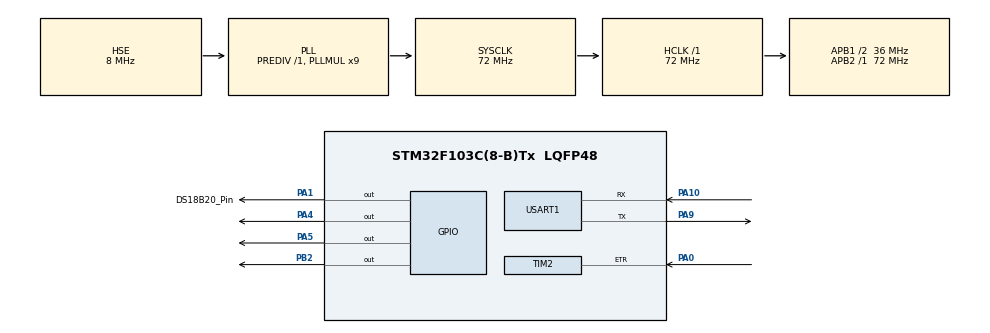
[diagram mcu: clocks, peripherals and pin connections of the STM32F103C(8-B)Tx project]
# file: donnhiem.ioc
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Mcu.Family=STM32F1
Mcu.Name=STM32F103C(8-B)Tx
Mcu.Package=LQFP48
NVIC.PriorityGroup=NVIC_PRIORITYGROUP_4
NVIC.TIM2_IRQn=true\:0\:0\:false\:false\:true\:true\:true\:true
NVIC.USART1_IRQn=true\:0\:0\:false\:false\:true\:true\:true\:true
PA0-WKUP.Signal=S_TIM2_CH1_ETR
PA1.GPIO_Label=DS18B20_Pin
PA1.Signal=GPIO_Output
PA10.Mode=Asynchronous
PA10.Signal=USART1_RX
PA13.Mode=Serial_Wire
PA13.Signal=SYS_JTMS-SWDIO
PA14.Mode=Serial_Wire
PA14.Signal=SYS_JTCK-SWCLK
PA4.Signal=GPIO_Output
PA5.Signal=GPIO_Output
PA9.Mode=Asynchronous
PA9.Signal=USART1_TX
PB2.Signal=GPIO_Output
PD0-OSC_IN.Mode=HSE-External-Oscillator
PD0-OSC_IN.Signal=RCC_OSC_IN
PD1-OSC_OUT.Mode=HSE-External-Oscillator
PD1-OSC_OUT.Signal=RCC_OSC_OUT
ProjectManager.HeapSize=0x200
ProjectManager.StackSize=0x400
ProjectManager.TargetToolchain=STM32CubeIDE
RCC.AHBFreq_Value=72000000
RCC.APB1CLKDivider=RCC_HCLK_DIV2
RCC.APB1Freq_Value=36000000
RCC.APB1TimFreq_Value=72000000
RCC.APB2Freq_Value=72000000
RCC.APB2TimFreq_Value=72000000
RCC.HCLKFreq_Value=72000000
RCC.PLLMUL=RCC_PLL_MUL9
RCC.PLLSourceVirtual=RCC_PLLSOURCE_HSE
RCC.SYSCLKFreq_VALUE=72000000
RCC.SYSCLKSource=RCC_SYSCLKSOURCE_PLLCLK
RCC.USBFreq_Value=72000000
SH.S_TIM2_CH1_ETR.0=TIM2_ETR,ClockSourceETR_Mode2
TIM1.Prescaler=63
TIM2.Period=19999
TIM2.Prescaler=3599
USART1.VirtualMode=VM_ASYNC
VP_TIM1_VS_ClockSourceINT.Mode=Internal
board=custom

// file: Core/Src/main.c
/* USER CODE BEGIN Header */
/**
  ******************************************************************************
  * @file           : main.c
  * @brief          : Main program body
  ******************************************************************************
  * @attention
  *
  * Copyright (c) 2024 STMicroelectronics.
  * All rights reserved.
  *
  * This software is licensed under terms that can be found in the LICENSE file
  * in the root directory of this software component.
  * If no LICENSE file comes with this software, it is provided AS-IS.
  *
  ******************************************************************************
  */
/* USER CODE END Header */
#include "main.h"
#include "tim.h"
#include "usart.h"
#include "gpio.h"
#include "string.h"
#include "stdio.h"
#include "ds18b20.h"
#include "TM1637.h"

/* USER CODE BEGIN PV */
	char logstring[10] = "led-on";
	char receiveData[6];
	char* rxBuffer;
	uint8_t temperature ;
	char logMessage[50];
	extern Ds18b20Sensor_t ds18b20[_DS18B20_MAX_SENSORS];
	char string[64];
	int delay = 1000;
  char character = 'T';

/* USER CODE END PV */

void SystemClock_Config(void);
/* USER CODE BEGIN PFP */
uint8_t	Timer1Enable = ENABLE;
uint32_t Timer1  = 0;
uint8_t CurrentDisplay[4] = {0};
uint8_t tm1637_Segments[8] = {0};
/* USER CODE END PFP */

int main(void)
{
  /* USER CODE BEGIN 1 */
  tm1637_Segments[0] = A_SEG;
  tm1637_Segments[1] = B_SEG;
  tm1637_Segments[2] = C_SEG;
  tm1637_Segments[3] = D_SEG;
  tm1637_Segments[4] = E_SEG;
  tm1637_Segments[5] = F_SEG;
  tm1637_Segments[6] = G_SEG;
  tm1637_Segments[7] = DP_SEG;
  /* USER CODE END 1 */

  /* MCU Configuration--------------------------------------------------------*/

  /* Reset of all peripherals, Initializes the Flash interface and the Systick. */
  HAL_Init();

  /* Configure the system clock */
  SystemClock_Config();

  /* Initialize all configured peripherals */
  MX_GPIO_Init();
  MX_TIM1_Init();
  MX_USART1_UART_Init();
  DS18B20_Init(12);
  MX_TIM2_Init();
  HAL_UART_Receive_IT(&huart1, receiveData, sizeof(receiveData));
  HAL_TIM_Base_Start_IT(&htim2);

  /* Infinite loop */
  while (1)
  {
	  DS18B20_ReadAll();
	  DS18B20_StartAll();
            // Định dạng chuỗi log với nhiệt độ
	  temperature = ds18b20[0].Temperature;
	  sprintf(string, "%d C\n",temperature);
	  uint8_t charSegments = char2segments('t');

		// Gán giá trị đoạn LED của chữ cái vào digit 1
	  CurrentDisplay[0] = charSegments;

		// Gán giá trị đoạn LED của dấu 2 chấm vào digit 2
	  CurrentDisplay[1] = 0x01;  // Đặt giá trị cho dấu 2 chấm, có thể cần thay đổi tùy thuộc vào yêu cầu thực tế
	  tm1637_DisplayInteger(temperature);
	  HAL_UART_Transmit(&huart1, (uint8_t *)string, sizeof(string), 100);
	  HAL_Delay(delay);
  }
}

void SystemClock_Config(void)
{
  RCC_OscInitTypeDef RCC_OscInitStruct = {0};
  RCC_ClkInitTypeDef RCC_ClkInitStruct = {0};

  /** Initializes the RCC Oscillators according to the specified parameters
  * in the RCC_OscInitTypeDef structure.
  */
  RCC_OscInitStruct.OscillatorType = RCC_OSCILLATORTYPE_HSE;
  RCC_OscInitStruct.HSEState = RCC_HSE_ON;
  RCC_OscInitStruct.HSEPredivValue = RCC_HSE_PREDIV_DIV1;
  RCC_OscInitStruct.HSIState = RCC_HSI_ON;
  RCC_OscInitStruct.PLL.PLLState = RCC_PLL_ON;
  RCC_OscInitStruct.PLL.PLLSource = RCC_PLLSOURCE_HSE;
  RCC_OscInitStruct.PLL.PLLMUL = RCC_PLL_MUL9;
  if (HAL_RCC_OscConfig(&RCC_OscInitStruct) != HAL_OK)
  {
    Error_Handler();
  }

  /** Initializes the CPU, AHB and APB buses clocks
  */
  RCC_ClkInitStruct.ClockType = RCC_CLOCKTYPE_HCLK|RCC_CLOCKTYPE_SYSCLK
                              |RCC_CLOCKTYPE_PCLK1|RCC_CLOCKTYPE_PCLK2;
  RCC_ClkInitStruct.SYSCLKSource = RCC_SYSCLKSOURCE_PLLCLK;
  RCC_ClkInitStruct.AHBCLKDivider = RCC_SYSCLK_DIV1;
  RCC_ClkInitStruct.APB1CLKDivider = RCC_HCLK_DIV2;
  RCC_ClkInitStruct.APB2CLKDivider = RCC_HCLK_DIV1;

  if (HAL_RCC_ClockConfig(&RCC_ClkInitStruct, FLASH_LATENCY_2) != HAL_OK)
  {
    Error_Handler();
  }
}

/* USER CODE BEGIN 4 */
void HAL_UART_RxCpltCallback(UART_HandleTypeDef *huart)
{
   HAL_UART_Transmit(&huart1, (uint8_t*) logstring, sizeof(logstring), 200);
   HAL_GPIO_TogglePin(GPIOB, GPIO_PIN_2);
   HAL_UART_Receive_IT(&huart1, receiveData, sizeof(receiveData));
   if(delay >= 9000) delay = 0;
   delay +=1000;
}
/* USER CODE END 4 */

void Error_Handler(void)
{
  __disable_irq();
  while (1)
  {
  }
}
